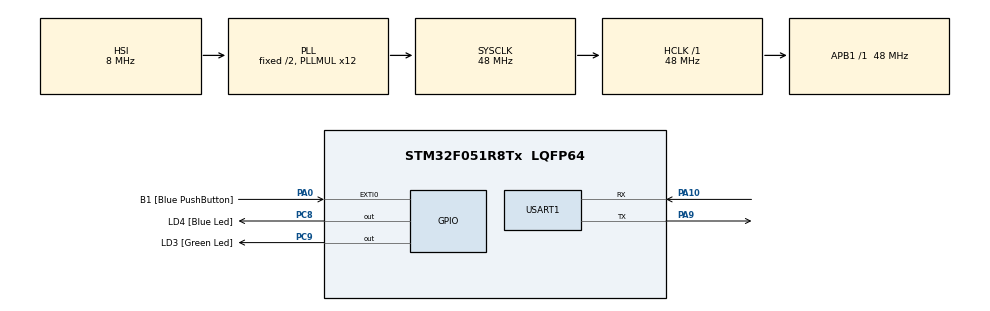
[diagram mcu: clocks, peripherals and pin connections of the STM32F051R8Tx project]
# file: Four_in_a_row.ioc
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Mcu.Family=STM32F0
Mcu.Name=STM32F051R8Tx
Mcu.Package=LQFP64
NVIC.USART1_IRQn=true\:0\:0\:false\:false\:true\:true\:true\:true
PA0.GPIO_Label=B1 [Blue PushButton]
PA0.GPIO_ModeDefaultEXTI=GPIO_MODE_EVT_RISING
PA0.Signal=GPXTI0
PA10.Mode=Asynchronous
PA10.Signal=USART1_RX
PA13.GPIO_Label=SWDIO
PA13.Mode=Serial_Wire
PA13.Signal=SYS_SWDIO
PA14.GPIO_Label=SWCLK
PA14.Mode=Serial_Wire
PA14.Signal=SYS_SWCLK
PA9.Mode=Asynchronous
PA9.Signal=USART1_TX
PC8.GPIO_Label=LD4 [Blue Led]
PC8.Signal=GPIO_Output
PC9.GPIO_Label=LD3 [Green Led]
PC9.Signal=GPIO_Output
ProjectManager.HeapSize=0x200
ProjectManager.StackSize=0x400
ProjectManager.TargetToolchain=STM32CubeIDE
RCC.AHBFreq_Value=48000000
RCC.APB1Freq_Value=48000000
RCC.APB1TimFreq_Value=48000000
RCC.HCLKFreq_Value=48000000
RCC.PLLMUL=RCC_PLL_MUL12
RCC.SYSCLKFreq_VALUE=48000000
RCC.SYSCLKSource=RCC_SYSCLKSOURCE_PLLCLK
USART1.VirtualMode-Asynchronous=VM_ASYNC
board=STM32F0DISCOVERY

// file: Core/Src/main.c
/* USER CODE BEGIN Header */
/**
  ******************************************************************************
  * @file           : main.c
  * @brief          : Main program body (Protocol Handler with Diff Update)
  ******************************************************************************
  */
/* USER CODE END Header */
#include "main.h"
#include "usart.h"
#include "gpio.h"

/* USER CODE BEGIN Includes */
#include <string.h>
#include "game.h"
#include "save.h" // <--- ДОДАНО: ОБОВ'ЯЗКОВЕ ПІДКЛЮЧЕННЯ ФАЙЛУ ЗБЕРЕЖЕННЯ
/* USER CODE END Includes */

/* USER CODE BEGIN PTD */
typedef struct {
	uint8_t cmd;
	uint8_t addr_h;
	uint8_t addr_l;
	uint8_t data_h;
	uint8_t data_l;
	uint8_t crc;
} Packet_t;
/* USER CODE END PTD */

/* USER CODE BEGIN PD */
#define PACKET_SIZE 6
#define TIMEOUT_MS  10

// Коди команд для відповіді
#define CMD_UPDATE_CELL 0x16
/* USER CODE END PD */

/* USER CODE BEGIN PV */
uint8_t rx_byte;
uint8_t rx_buffer[PACKET_SIZE];
uint8_t rx_idx = 0;
volatile uint8_t packet_received_flag = 0;
uint32_t last_byte_tick = 0;
Packet_t current_packet;
extern char current_player_name[16]; // Змінна з save.c

// Буфер для збереження старого стану поля (Snapshot)
uint8_t board_snapshot[BOARD_ROWS][BOARD_COLS];

// === НАЛАШТУВАННЯ АНІМАЦІЇ ===
// Затримка між кроками падіння кубиків (у мілісекундах). Змінюй це значення!
uint32_t anim_speed_ms = 300;
/* USER CODE END PV */

void SystemClock_Config(void);

/* USER CODE BEGIN 0 */
// Функція розрахунку CRC
uint8_t CRC8_Calc(uint8_t *data, uint8_t len)
{
	uint8_t crc = 0x00;
	uint8_t i, j;
	for (i = 0; i < len; i++) {
		crc ^= data[i];
		for (j = 0; j < 8; j++) {
			if (crc & 0x80) {
				crc = (crc << 1) ^ 0x07;
			} else {
				crc <<= 1;
			}
		}
	}
	return crc;
}

// Універсальна функція відправки пакету
void Send_Packet(uint8_t cmd, uint8_t r, uint8_t c, uint8_t data, uint8_t status)
{
    uint8_t tx_buf[PACKET_SIZE];
    tx_buf[0] = cmd;
    tx_buf[1] = r;
    tx_buf[2] = c;
    tx_buf[3] = data;
    tx_buf[4] = status;
    tx_buf[5] = CRC8_Calc(tx_buf, 5);

    HAL_UART_Transmit(&huart1, tx_buf, PACKET_SIZE, 100);
}

// Відправка різниці (оновлення екрану)
void Send_Board_Diff(void)
{
    for (uint8_t r = 0; r < BOARD_ROWS; r++) {
        for (uint8_t c = 0; c < BOARD_COLS; c++) {
            if (board[r][c] != board_snapshot[r][c]) {
                Send_Packet(CMD_UPDATE_CELL, r, c, board[r][c], 0xAA);
                HAL_Delay(2);
            }
        }
    }
}

// Викликається з game.c для відмальовки кожного кроку анімації
void UI_Update_Step(void)
{
    Send_Board_Diff(); // Відправляємо зміни
    memcpy(board_snapshot, board, sizeof(board_snapshot)); // Оновлюємо знімок для наступного кадру

    if (anim_speed_ms > 0) {
        HAL_Delay(anim_speed_ms); // Чекаємо, щоб око встигло побачити кадр
    }
}

void Send_Full_Board(void)
{
    for (uint8_t r = 0; r < BOARD_ROWS; r++) {
        for (uint8_t c = 0; c < BOARD_COLS; c++) {
            Send_Packet(CMD_UPDATE_CELL, r, c, board[r][c], 0xAA);
            HAL_Delay(2);
        }
    }
}
/* USER CODE END 0 */

int main(void)
{
  HAL_Init();
  SystemClock_Config();
  MX_GPIO_Init();
  MX_USART1_UART_Init();

  /* USER CODE BEGIN 2 */
  __HAL_UART_FLUSH_DRREGISTER(&huart1);
  HAL_UART_Receive_IT(&huart1, &rx_byte, 1);

  Game_Init();
  /* USER CODE END 2 */

  /* Infinite loop */
  /* USER CODE BEGIN WHILE */
  while (1)
  {
      if (packet_received_flag == 1)
      {
          current_packet.cmd    = rx_buffer[0];
          current_packet.addr_h = rx_buffer[1];
          current_packet.addr_l = rx_buffer[2];
          current_packet.data_h = rx_buffer[3];
          current_packet.data_l = rx_buffer[4];
          current_packet.crc    = rx_buffer[5];

          uint8_t calc_crc = CRC8_Calc(rx_buffer, 5);

          if (calc_crc == current_packet.crc)
          {
              switch (current_packet.cmd)
              {
                  case 0x10: // NEW GAME
                      Game_Init();
                      Send_Packet(0x10, 0, 0, 0, 0xAA);
                      Send_Full_Board();
                      break;

                  case 0x11: // SWAP
                  {
                      memcpy(board_snapshot, board, sizeof(board_snapshot));

                      // Game_Swap тепер тільки спалює кубики, але НЕ запускає падіння миттєво
                      uint8_t success = Game_Swap(current_packet.addr_h, current_packet.addr_l,
                                                  current_packet.data_h, current_packet.data_l);

                      if (success) {
                          // Відразу підтверджуємо, що хід валідний, щоб UI розблокувався
                          Send_Packet(0x11, 0, 0, 0, 0xAA);

                          // 1. Показуємо зникнення згорілих кубиків (вони стали 0)
                          UI_Update_Step();

                          // 2. Запускаємо покрокову анімацію падіння
                          Game_RunGravityLoop();

                          // 3. ПЕРЕВІРКА НА ГЛУХИЙ КУТ після того, як все впало
                          if (Game_HasPossibleMoves() == 0) {
                              Send_Packet(0x11, 0, 0, 0, 0xDD);
                          }
                      } else {
                          Send_Packet(0x11, 0, 0, 0, 0xEE); // Помилка
                      }
                  }
                  break;

                  case 0x14: // GET CELL
                  {
                      uint8_t r = current_packet.addr_h;
                      uint8_t c = current_packet.addr_l;

                      if (r < BOARD_ROWS && c < BOARD_COLS) {
                          Send_Packet(0x14, r, c, board[r][c], 0xAA);
                      } else {
                          Send_Packet(0x14, r, c, 0, 0xEE);
                      }
                  }
                  break;

                  case 0x15: // GET SCORE
                  {
                      uint8_t tx_score[PACKET_SIZE];
                      tx_score[0] = 0x15;
                      tx_score[1] = (uint8_t)((score >> 24) & 0xFF);
                      tx_score[2] = (uint8_t)((score >> 16) & 0xFF);
                      tx_score[3] = (uint8_t)((score >> 8)  & 0xFF);
                      tx_score[4] = (uint8_t)(score & 0xFF);
                      tx_score[5] = CRC8_Calc(tx_score, 5);

                      HAL_UART_Transmit(&huart1, tx_score, PACKET_SIZE, 100);
                  }
                  break;

                  case 0x20: // ПРИЙОМ ІМЕНІ ВІД PYTHON ПРИ СТАРТІ (по 3 символи)
                  {
                      uint8_t chunk = current_packet.addr_h;
                      if (chunk < 6) {
                          int base = chunk * 3;
                          if (base < 16) current_player_name[base] = current_packet.addr_l;
                          if (base + 1 < 16) current_player_name[base + 1] = current_packet.data_h;
                          if (base + 2 < 16) current_player_name[base + 2] = current_packet.data_l;
                      }
                      if (chunk == 5) current_player_name[15] = '\0'; // Гарантуємо кінець рядка
                      Send_Packet(0x20, chunk, 0, 0, 0xAA);
                  }
                  break;

                  case 0x30: // ЗБЕРЕГТИ ГРУ (Save)
                  {
                      uint8_t slot = current_packet.addr_h; // Python пришле 0, 1 або 2
                      Save_Game(slot);
                      Send_Packet(0x30, slot, 0, 0, 0xAA);
                  }
                  break;

                  case 0x31: // ВІДНОВИТИ ГРУ (Restore / Load)
                  {
                      uint8_t slot = current_packet.addr_h; // Python пришле 0, 1 або 2
                      if (Load_Game(slot) == 1) {
                          Send_Packet(0x31, slot, 0, 0, 0xAA);
                          HAL_Delay(10);

                          for (uint8_t i = 0; i < 6; i++) {
                              Send_Packet(0x32, i,
                                          current_player_name[i*3],
                                          current_player_name[i*3+1],
                                          current_player_name[i*3+2]);
                              HAL_Delay(5);
                          }

                          uint8_t tx_sc[PACKET_SIZE] = {0x15, (uint8_t)((score>>24)&0xFF), (uint8_t)((score>>16)&0xFF), (uint8_t)((score>>8)&0xFF), (uint8_t)(score&0xFF), 0};
                          tx_sc[5] = CRC8_Calc(tx_sc, 5);
                          HAL_UART_Transmit(&huart1, tx_sc, PACKET_SIZE, 100);
                          HAL_Delay(10);

                          Send_Full_Board();
                      } else {
                          Send_Packet(0x31, slot, 0, 0, 0xEE); // Помилка: слот порожній
                      }
                  }
                  break;

                  default: // Невідома команда
                      Send_Packet(current_packet.cmd, 0, 0, 0, 0xFF);
                      break;
              }
          }
          else
          {
              Send_Packet(0xEE, calc_crc, current_packet.crc, 0xEE, 0xEE);
          }

          packet_received_flag = 0;
          rx_idx = 0;
      }
  }
  /* USER CODE END 3 */
}

void SystemClock_Config(void) {
  RCC_OscInitTypeDef RCC_OscInitStruct = {0};
  RCC_ClkInitTypeDef RCC_ClkInitStruct = {0};
  RCC_PeriphCLKInitTypeDef PeriphClkInit = {0};
  RCC_OscInitStruct.OscillatorType = RCC_OSCILLATORTYPE_HSI;
  RCC_OscInitStruct.HSIState = RCC_HSI_ON;
  RCC_OscInitStruct.HSICalibrationValue = RCC_HSICALIBRATION_DEFAULT;
  RCC_OscInitStruct.PLL.PLLState = RCC_PLL_ON;
  RCC_OscInitStruct.PLL.PLLSource = RCC_PLLSOURCE_HSI;
  RCC_OscInitStruct.PLL.PLLMUL = RCC_PLL_MUL12;
  RCC_OscInitStruct.PLL.PREDIV = RCC_PREDIV_DIV1;
  HAL_RCC_OscConfig(&RCC_OscInitStruct);
  RCC_ClkInitStruct.ClockType = RCC_CLOCKTYPE_HCLK|RCC_CLOCKTYPE_SYSCLK|RCC_CLOCKTYPE_PCLK1;
  RCC_ClkInitStruct.SYSCLKSource = RCC_SYSCLKSOURCE_PLLCLK;
  RCC_ClkInitStruct.AHBCLKDivider = RCC_SYSCLK_DIV1;
  RCC_ClkInitStruct.APB1CLKDivider = RCC_HCLK_DIV1;
  HAL_RCC_ClockConfig(&RCC_ClkInitStruct, FLASH_LATENCY_1);
  PeriphClkInit.PeriphClockSelection = RCC_PERIPHCLK_USART1;
  PeriphClkInit.Usart1ClockSelection = RCC_USART1CLKSOURCE_PCLK1;
  HAL_RCCEx_PeriphCLKConfig(&PeriphClkInit);
}

void HAL_UART_RxCpltCallback(UART_HandleTypeDef *huart) {
  if (huart->Instance == USART1) {
	uint32_t current_tick = HAL_GetTick();
	if (rx_idx > 0 && (current_tick - last_byte_tick > TIMEOUT_MS)) rx_idx = 0;
	last_byte_tick = current_tick;

	if (packet_received_flag == 0) {
		rx_buffer[rx_idx++] = rx_byte;
		if (rx_idx >= PACKET_SIZE) {
			packet_received_flag = 1;
			rx_idx = 0;
		}
	}
	HAL_UART_Receive_IT(&huart1, &rx_byte, 1);
  }
}

void HAL_UART_ErrorCallback(UART_HandleTypeDef *huart) {
  if (huart->Instance == USART1) {
	__HAL_UART_CLEAR_OREFLAG(huart);
	rx_idx = 0;
	packet_received_flag = 0;
	HAL_UART_Receive_IT(&huart1, &rx_byte, 1);
  }
}

void Error_Handler(void) {
  __disable_irq();
  while (1) {}
}
